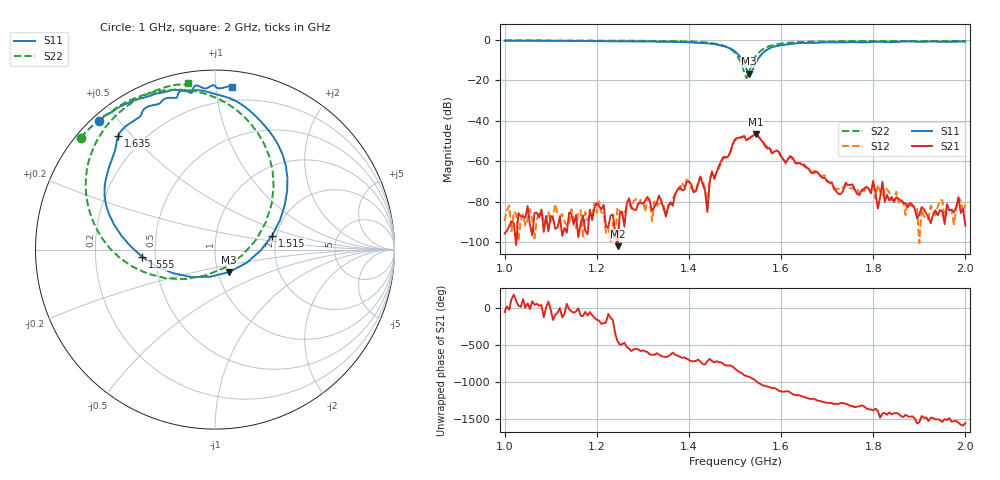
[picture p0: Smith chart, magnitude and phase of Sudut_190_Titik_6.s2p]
# Hz S RI R 50
! CMT, C1220, 16058040, 17.2.0/1
! Date: 14/08/2018 12:23:03
! Data: Format (Calibration Info)
! Freq  S11: Re/Im (F2)  S21: Re/Im (F2)  S12: Re/Im (F2)  S22: Re/Im (F2)
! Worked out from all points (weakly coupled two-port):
!   201 points, 1 GHz to 2 GHz, reference 50 ohm
!   highest |S21| = -46.59 dB at 1.545 GHz (marker M1); lowest = -102.1 dB at 1.245 GHz (marker M2)
!   lowest |S11| = -16.6 dB at 1.53 GHz (marker M3), VSWR 1.35, Z = 56.5 - j14.4 ohm
!   |S11| at or under -10 dB: 1.516 GHz to 1.549 GHz (32.88 MHz wide, 2.15 % of centre)
!   |S22| runs from -18.8 to -0.2 dB; largest |S21 - S12| = 0.00025
!   S11 on the Smith chart (normalised r, x): 1 GHz: 0.02, +0.44; 1.515 GHz: 1.90, +0.33; 1.555 GHz: 0.42, -0.04; 1.635 GHz: 0.11, +0.46; 2 GHz: 0.10, +1.11
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1e9  -0.6457 0.7156  8.62e-06 -1.37e-05  1.22e-05 -3.08e-05  -0.7479 0.6242
1.17e9  -0.4686 0.8235  -1.77e-05 -4.18e-05  1.11e-05 -5.04e-06  -0.6113 0.7487
1.245e9  -0.3522 0.861  -3.41e-07 -7.86e-06  -6.12e-05 -3.58e-05  -0.5377 0.7974
1.335e9  -0.2024 0.8886  5.22e-06 0.000141  5.05e-05 7.57e-05  -0.3962 0.8621
1.425e9  0.0832 0.8427  0.000401 -5.97e-05  0.000413 -5.52e-05  -0.1156 0.8823
1.44e9  0.1424 0.8124  5.52e-05 -7e-07  5.36e-05 2.56e-05  -0.0367 0.8624
1.45e9  0.1854 0.7806  0.000563 -5.37e-06  0.000502 -6.84e-05  0.0248 0.8367
1.5e9  0.402 0.329  -0.000875 -0.00338  -0.00083 -0.00318  0.3267 0.3514
1.515e9  0.318 0.0773  -0.00378 -0.000999  -0.00386 -0.00114  0.2298 0.056
1.53e9  0.0783 -0.125  -0.00305 0.00192  -0.00314 0.00202  -0.0512 -0.1439
1.545e9  -0.2322 -0.1319  -0.000283 0.00468  -0.000328 0.00466  -0.3719 -0.1354
1.555e9  -0.4053 -0.0407  0.00221 0.00269  0.00219 0.00288  -0.5271 -0.0492
1.635e9  -0.5387 0.634  -0.000172 -0.000854  -0.000126 -0.000874  -0.6781 0.5645
1.67e9  -0.4275 0.7335  -0.000431 -0.000265  -0.000499 -0.000266  -0.6174 0.6713
1.725e9  -0.3213 0.8093  -0.000119 9.53e-05  -0.000158 0.000131  -0.5275 0.7684
1.8e9  -0.2023 0.8741  0.000195 0.000244  1.14e-05 0.000335  -0.4183 0.8451
1.805e9  -0.1963 0.8816  3.79e-05 0.000164  0.000108 5.03e-05  -0.4112 0.8495
1.81e9  -0.1882 0.8858  4.67e-05 4.82e-05  0.000243 9.17e-05  -0.4047 0.8531
1.82e9  -0.1673 0.8854  0.0003 6.88e-05  0.000122 5.59e-05  -0.3907 0.8598
1.825e9  -0.1557 0.8816  9.38e-05 2.92e-05  7.91e-05 0.000211  -0.3844 0.8629
1.835e9  -0.1365 0.8733  9.61e-05 4.5e-05  0.000141 9.61e-05  -0.3711 0.8696
2e9  0.0974 0.9062  -1.2e-05 -2.23e-05  -7.17e-05 -4.47e-05  -0.1485 0.9278
